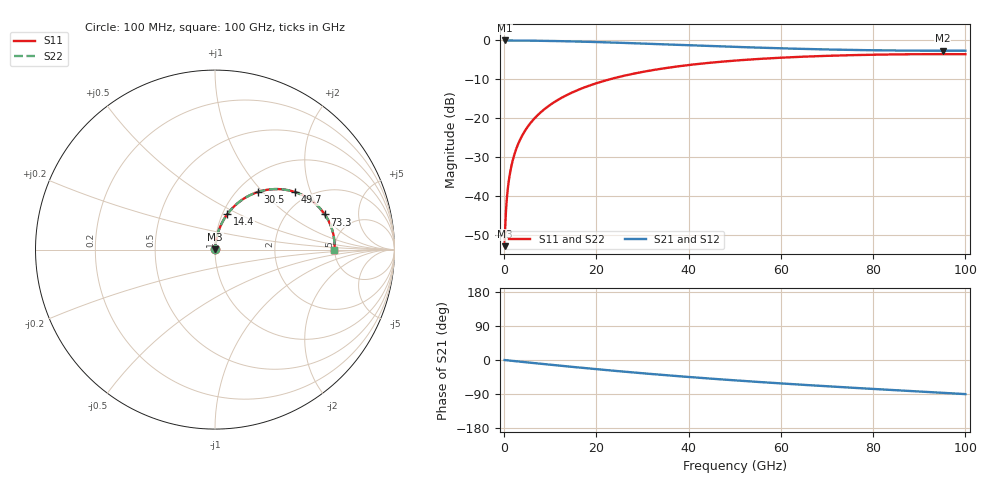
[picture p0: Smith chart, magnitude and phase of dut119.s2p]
! Touchstone file exported from HFSS 2026.1.0
!  File:  C:/ffzhzh/LocalFiles/Ansys_Project_Files/temp_train_RDL_119_1783499409_44152.aedt
!  Generated:  04:31:15 PM Jul  8, 2026
!  Design:  RDL
!  Project:  temp_train_RDL_119_1783499409_44152
! Variables:
!  h_bsmrdl = 2um
!  h_ox = 20um
!  h_rdl = 5um
!  h_sub = 80um
!  h_tmrdl = 4.21um
!  h_tsv = 80um
!  h_via = 3um
!  l_bsmrdl = 300um
!  l_sub = 682.26um
!  l_tmrdl = 282.26um
!  m_sub = 200um
!  pitch = 53.07um
!  r_tsv = 6um
!  s_tmrdl = 10um
!  w_bsmrdl = 18um
!  w_sub = 500um
!  w_tmrdl = 15.81um
!  x_tsv_center1 = 290.165um
!  x_tsv_center2 = 608.165um
!  x_tsv_center3 = 906.235um
!  x_tsv_center4 = 1224.235um
!  x_tsv_center5 = 1522.305um
!  x_tsv_center6 = 1840.305um
# GHz S MA R 50.000000
! Terminal data exported
! Port[1] = TM_RDL1_1_T1
! Port[2] = TM_RDL1_1_T2
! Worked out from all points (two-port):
!   1000 points, 100 MHz to 100 GHz, reference 50 ohm
!   highest |S21| = -0.01 dB at 100 MHz (marker M1); lowest = -2.6 dB at 95.1 GHz (marker M2)
!   |S21| within 3 dB of the highest: start of sweep to end of sweep
!   lowest |S11| = -52.7 dB at 100 MHz (marker M3), VSWR 1.00, Z = 50.2 + j0.163 ohm
!   |S11| at or under -10 dB: start of sweep to 22.81 GHz
!   |S22| runs from -52.7 to -3.5 dB; largest |S21 - S12| = 4.1e-15
!   S11 on the Smith chart (normalised r, x): 100 MHz: 1.00, +0.00; 14.4 GHz: 1.06, +0.44; 30.5 GHz: 1.23, +0.94; 49.7 GHz: 1.70, +1.56; 73.3 GHz: 3.11, +2.07; 100 GHz: 4.98, -0.07
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0.1  0.002308 44.7  0.9984 -0.1  0.9984 -0.1  0.002308 44.7
! Gamma 0 0 0 0
! Port Impedance 50 0 50 0
0.8  0.0127 80.4  0.998 -1.0  0.998 -1.0  0.0127 80.4
1  0.01576 81.6  0.9979 -1.3  0.9979 -1.3  0.01576 81.6
1.3  0.02037 82.7  0.9978 -1.7  0.9978 -1.7  0.02037 82.7
1.7  0.02653 83.3  0.9976 -2.2  0.9976 -2.2  0.02653 83.3
2.2  0.03421 83.5  0.9972 -2.8  0.9972 -2.8  0.03421 83.5
3.5  0.05408 82.8  0.9959 -4.4  0.9959 -4.4  0.05408 82.8
5.3  0.08117 81.0  0.9934 -6.7  0.9934 -6.7  0.08117 81.0
7.7  0.1165 78.3  0.9891 -9.7  0.9891 -9.7  0.1165 78.3
10.7  0.1594 74.9  0.9822 -13.3  0.9822 -13.3  0.1594 74.9
14.4  0.2103 70.7  0.9718 -17.7  0.9718 -17.7  0.2103 70.7
16.8  0.242 68.0  0.9641 -20.5  0.9641 -20.5  0.242 68.0
23  0.3185 61.2  0.9409 -27.5  0.9409 -27.5  0.3185 61.2
30.5  0.3994 53.4  0.9091 -35.5  0.9091 -35.5  0.3994 53.4
33.4  0.4272 50.5  0.8963 -38.4  0.8963 -38.4  0.4272 50.5
49.7  0.5491 35.7  0.8276 -53.4  0.8276 -53.4  0.5491 35.7
50.1  0.5514 35.4  0.826 -53.8  0.826 -53.8  0.5514 35.4
66.7  0.6244 22.5  0.7731 -66.9  0.7731 -66.9  0.6244 22.5
73.3  0.6425 17.8  0.7584 -71.7  0.7584 -71.7  0.6425 17.7
83.4  0.6601 10.8  0.7433 -78.7  0.7433 -78.7  0.6601 10.8
95.1  0.6668 3.0  0.7373 -86.7  0.7373 -86.7  0.6668 2.9
100  0.6654 -0.3  0.7384 -90.0  0.7384 -90.0  0.6654 -0.3
